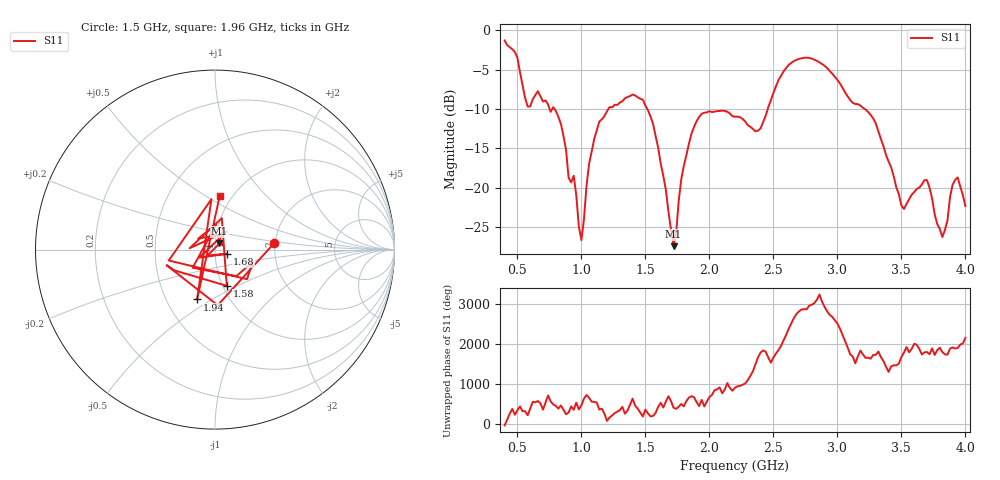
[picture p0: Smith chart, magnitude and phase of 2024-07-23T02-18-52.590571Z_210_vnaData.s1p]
!Created with skrf (http://scikit-rf.org).
# Hz S RI R 50.0
!freq ReS11 ImS11
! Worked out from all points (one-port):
!   181 points, 400 MHz to 4 GHz, reference 50 ohm
!   lowest |S11| = -27.5 dB at 1.72 GHz (marker M1), VSWR 1.09, Z = 52.4 + j3.59 ohm
!   |S11| at or under -10 dB: 789.6 MHz to 1.211 GHz (421.1 MHz wide, 42.1 % of centre); 1.515 GHz to 2.456 GHz (941 MHz wide, 47.4 % of centre); 3.215 GHz to end of sweep (the widest 3 of 4)
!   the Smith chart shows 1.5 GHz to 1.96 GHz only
!   S11 on the Smith chart (normalised r, x): 1.5 GHz: 1.98, +0.16; 1.58 GHz: 1.04, -0.44; 1.68 GHz: 1.14, -0.05; 1.94 GHz: 0.71, -0.43; 1.96 GHz: 0.88, +0.57
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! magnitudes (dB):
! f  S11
! 400 MHz  -1.3
! 500 MHz  -3.5
! 580 MHz  -9.7
! 660 MHz  -7.7
! 860 MHz  -13.4
! 900 MHz  -18.7
! 940 MHz  -18.5
! 1 GHz  -26.7
! 1.1 GHz  -13.8
! 1.3 GHz  -9.2
! 1.5 GHz  -9.6
! 1.58 GHz  -13.5
! 1.68 GHz  -23.1
! 1.72 GHz  -27.5
! 1.76 GHz  -21.7
! 1.94 GHz  -10.6
! 1.96 GHz  -10.5
! 2.2 GHz  -11.0
! 2.4 GHz  -12.5
! 2.66 GHz  -3.9
! 3.1 GHz  -8.8
! 3.28 GHz  -11.2
! 3.5 GHz  -22.3
! 3.56 GHz  -21.5
! 3.7 GHz  -19.1
! 3.82 GHz  -26.3
! 3.92 GHz  -19.0
! 4 GHz  -22.3
